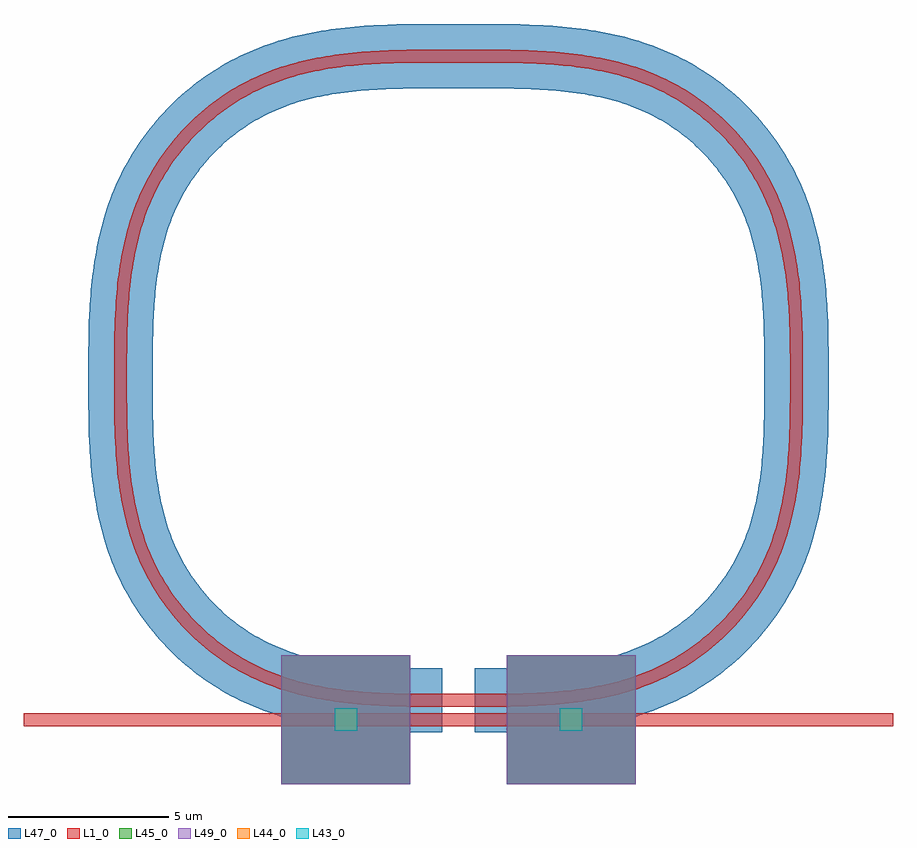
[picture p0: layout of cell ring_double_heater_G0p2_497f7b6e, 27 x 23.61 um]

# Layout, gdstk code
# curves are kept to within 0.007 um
import gdstk
lib = gdstk.Library(unit=1e-6, precision=1e-09)
def R(c, l, rs):  # rectangles x0, y0, x1, y1
    for r in rs: c.add(gdstk.rectangle(r[:2], r[2:], *l))
def P(c, l, *ps):  # polygons
    for p in ps: c.add(gdstk.Polygon(p, *l))
L1_0 = (1, 0)
L43_0 = (43, 0)
L44_0 = (44, 0)
L45_0 = (45, 0)
L47_0 = (47, 0)
L49_0 = (49, 0)

ring_double_heater_g0p2_ = lib.new_cell('ring_double_heater_G0p2_497f7b6e')
R(ring_double_heater_g0p2_, L1_0, [(-14,-0.2,13,0.2)])
P(ring_double_heater_g0p2_, L1_0, [(-1.416,0.4),(-2.252,0.408),(-2.95,0.431),(-3.65,0.479),(-4.349,0.559),(-4.906,0.652),(-5.458,0.776),(-6.003,0.935),(-6.537,1.133),(-7.055,1.372),(-7.552,1.65),(-8.026,1.967),(-8.474,2.32),(-8.893,2.707),(-9.28,3.126),(-9.633,3.574),(-9.95,4.048),(-10.228,4.545),(-10.411,4.932),(-10.571,5.328),(-10.749,5.868),(-10.89,6.417),(-11.021,7.112),(-11.094,7.67),(-11.153,8.37),(-11.192,9.348),(-11.2,11.026),(-11.185,12.141),(-11.144,12.98),(-11.078,13.68),(-10.974,14.377),(-10.824,15.068),(-10.665,15.613),(-10.571,15.882),(-10.411,16.278),(-10.292,16.537),(-10.094,16.916),(-9.95,17.162),(-9.715,17.52),(-9.461,17.864),(-9.28,18.084),(-8.993,18.401),(-8.791,18.603),(-8.582,18.796),(-8.254,19.071),(-8.026,19.243),(-7.673,19.484),(-7.43,19.633),(-7.055,19.838),(-6.668,20.021),(-6.272,20.181),(-5.868,20.318),(-5.547,20.41),(-1.415,20.41),(-2.381,20.399),(-3.068,20.372),(-3.751,20.32),(-4.293,20.255),(-4.829,20.165),(-5.49,20.012),(-5.878,19.895),(-6.384,19.707),(-6.873,19.482),(-7.343,19.218),(-7.791,18.919),(-8.214,18.586),(-8.61,18.22),(-8.976,17.824),(-9.309,17.401),(-9.608,16.953),(-9.872,16.483),(-10.044,16.118),(-10.241,15.616),(-10.402,15.1),(-10.528,14.572),(-10.625,14.037),(-10.696,13.496),(-10.754,12.815),(-10.789,11.991),(-10.8,11.025),(-10.792,9.356),(-10.754,8.395),(-10.681,7.578),(-10.604,7.038),(-10.5,6.505),(-10.326,5.851),(-10.196,5.467),(-10.044,5.092),(-9.872,4.727),(-9.678,4.372),(-9.463,4.03),(-9.229,3.7),(-8.976,3.386),(-8.61,2.99),(-8.214,2.624),(-7.9,2.371),(-7.57,2.137),(-7.228,1.922),(-6.873,1.728),(-6.508,1.556),(-6.133,1.404),(-5.749,1.274),(-5.359,1.164),(-4.962,1.072),(-4.562,0.996),(-4.022,0.919),(-3.478,0.865),(-2.931,0.831),(-1.692,0.801),(0.83,0.802),(1.656,0.819),(2.342,0.855),(3.022,0.919),(3.562,0.996),(4.095,1.1),(4.62,1.235),(5.006,1.359),(5.384,1.503),(5.753,1.668),(6.228,1.922),(6.57,2.137),(6.9,2.371),(7.214,2.624),(7.61,2.99),(7.976,3.386),(8.229,3.7),(8.463,4.03),(8.678,4.372),(8.932,4.847),(9.097,5.216),(9.285,5.722),(9.402,6.11),(9.528,6.638),(9.645,7.307),(9.71,7.849),(9.762,8.532),(9.789,9.219),(9.8,10.185),(9.792,11.854),(9.762,12.678),(9.723,13.224),(9.664,13.767),(9.58,14.306),(9.469,14.837),(9.365,15.23),(9.196,15.743),(8.989,16.241),(8.809,16.603),(8.608,16.953),(8.387,17.292),(8.229,17.51),(7.976,17.824),(7.797,18.026),(7.514,18.314),(7.214,18.586),(7.006,18.757),(6.682,18.997),(6.458,19.147),(6.111,19.355),(5.753,19.542),(5.384,19.707),(5.133,19.806),(4.49,20.012),(3.829,20.165),(3.157,20.274),(2.478,20.345),(1.656,20.391),(0.415,20.41),(-5.547,20.41),(-5.044,20.53),(-4.488,20.631),(-3.93,20.704),(-3.23,20.763),(-2.531,20.795),(-1.834,20.808),(0.834,20.808),(1.95,20.779),(2.51,20.743),(3.07,20.688),(3.488,20.631),(4.044,20.53),(4.458,20.434),(5.003,20.275),(5.405,20.13),(5.798,19.963),(6.181,19.772),(6.552,19.56),(6.91,19.325),(7.254,19.071),(7.582,18.796),(7.893,18.503),(8.186,18.192),(8.461,17.864),(8.715,17.52),(8.95,17.162),(9.162,16.791),(9.353,16.408),(9.571,15.882),(9.708,15.478),(9.858,14.931),(9.974,14.377),(10.06,13.819),(10.121,13.26),(10.169,12.56),(10.189,12.001),(10.199,9.906),(10.169,8.65),(10.133,8.09),(10.078,7.53),(10.021,7.112),(9.92,6.556),(9.824,6.142),(9.665,5.597),(9.52,5.195),(9.353,4.802),(9.228,4.545),(9.023,4.17),(8.796,3.807),(8.633,3.574),(8.461,3.346),(8.186,3.018),(7.893,2.707),(7.687,2.51),(7.474,2.32),(7.141,2.052),(6.793,1.804),(6.552,1.65),(6.181,1.438),(5.798,1.247),(5.537,1.133),(5.138,0.981),(4.868,0.892),(4.458,0.776),(3.767,0.626),(3.07,0.522),(2.37,0.456),(1.391,0.411),(0.694,0.401)])
R(ring_double_heater_g0p2_, L43_0, [(-4.35,-0.35,-3.65,0.35), (2.65,-0.35,3.35,0.35)])
R(ring_double_heater_g0p2_, L44_0, [(-4.35,-0.35,-3.65,0.35), (2.65,-0.35,3.35,0.35)])
R(ring_double_heater_g0p2_, L45_0, [(-6,-2,-2,2), (1,-2,5,2)])
P(ring_double_heater_g0p2_, L47_0, [(-6,-2),(-6,0.096),(-6.55,0.279),(-6.989,0.456),(-7.559,0.732),(-7.97,0.968),(-8.368,1.228),(-8.749,1.511),(-9.23,1.922),(-9.569,2.254),(-9.888,2.606),(-10.28,3.103),(-10.548,3.495),(-10.868,4.041),(-11.144,4.611),(-11.321,5.05),(-11.472,5.495),(-11.636,6.092),(-11.761,6.691),(-11.854,7.287),(-11.931,8.027),(-11.968,8.611),(-11.998,9.759),(-11.999,11.309),(-11.98,12.309),(-11.942,13.037),(-11.889,13.626),(-11.811,14.221),(-11.703,14.819),(-11.559,15.417),(-11.374,16.012),(-11.206,16.453),(-11.011,16.886),(-10.792,17.307),(-10.548,17.715),(-10.28,18.107),(-9.99,18.482),(-9.678,18.84),(-9.346,19.179),(-8.994,19.498),(-8.624,19.796),(-8.368,19.982),(-7.97,20.242),(-7.559,20.478),(-7.133,20.689),(-6.697,20.875),(-6.254,21.034),(-5.807,21.169),(-5.358,21.281),(-4.909,21.371),(-4.313,21.464),(-3.573,21.541),(-2.989,21.578),(-2.268,21.602),(0.841,21.608),(1.699,21.59),(2.573,21.541),(3.313,21.464),(3.76,21.397),(4.358,21.281),(4.807,21.169),(5.402,20.984),(5.843,20.816),(6.276,20.621),(6.697,20.402),(7.105,20.158),(7.368,19.982),(7.872,19.6),(8.113,19.394),(8.459,19.069),(8.888,18.604),(9.186,18.234),(9.372,17.978),(9.713,17.445),(9.868,17.169),(10.079,16.743),(10.265,16.307),(10.374,16.012),(10.559,15.417),(10.671,14.968),(10.733,14.669),(10.854,13.923),(10.942,13.037),(10.968,12.599),(10.992,11.878),(11,10.182),(10.98,8.901),(10.931,8.027),(10.854,7.287),(10.787,6.84),(10.671,6.242),(10.517,5.644),(10.321,5.05),(10.144,4.611),(9.941,4.182),(9.713,3.765),(9.372,3.232),(9.186,2.976),(8.888,2.606),(8.569,2.254),(8.346,2.031),(7.994,1.712),(7.749,1.511),(7.368,1.228),(7.105,1.052),(6.697,0.808),(6.418,0.659),(5.989,0.456),(5.697,0.335),(5.402,0.226),(5,0.096),(5,-2),(1,-2),(1,-0.396),(0,-0.4),(0,1.6),(1,1.605),(1,2),(4.385,2),(4.742,2.114),(5.187,2.289),(5.616,2.496),(5.823,2.612),(6.126,2.802),(6.604,3.156),(6.959,3.472),(7.289,3.815),(7.444,3.996),(7.662,4.279),(7.988,4.777),(8.212,5.196),(8.358,5.522),(8.445,5.745),(8.63,6.322),(8.719,6.68),(8.793,7.047),(8.901,7.8),(8.97,8.708),(8.998,9.777),(8.998,11.433),(8.97,12.502),(8.914,13.282),(8.835,13.915),(8.719,14.53),(8.562,15.122),(8.403,15.577),(8.263,15.906),(8.159,16.12),(7.988,16.433),(7.863,16.636),(7.591,17.027),(7.289,17.395),(6.873,17.819),(6.604,18.054),(6.417,18.201),(6.026,18.473),(5.616,18.714),(5.296,18.873),(5.078,18.968),(4.628,19.135),(4.04,19.301),(3.553,19.403),(3.054,19.481),(2.414,19.547),(1.76,19.586),(0.414,19.61),(-1.823,19.608),(-2.76,19.586),(-3.414,19.547),(-4.054,19.481),(-4.43,19.425),(-4.92,19.329),(-5.396,19.207),(-5.742,19.096),(-6.078,18.968),(-6.51,18.769),(-6.925,18.536),(-7.321,18.272),(-7.604,18.054),(-7.959,17.738),(-8.289,17.395),(-8.591,17.027),(-8.798,16.736),(-9.047,16.33),(-9.263,15.906),(-9.403,15.577),(-9.486,15.352),(-9.63,14.888),(-9.77,14.286),(-9.871,13.664),(-9.947,12.895),(-9.981,12.238),(-9.999,11.297),(-9.998,9.777),(-9.981,8.972),(-9.947,8.315),(-9.871,7.546),(-9.77,6.924),(-9.691,6.56),(-9.597,6.204),(-9.403,5.633),(-9.263,5.304),(-9.104,4.984),(-8.988,4.777),(-8.798,4.474),(-8.518,4.089),(-8.289,3.815),(-8.128,3.641),(-7.785,3.311),(-7.417,3.009),(-7.026,2.737),(-6.616,2.496),(-6.296,2.337),(-6.078,2.242),(-5.742,2.114),(-5.385,2),(-2,2),(-2,1.605),(-1,1.6),(-1,-0.4),(-2,-0.396),(-2,-2)])
R(ring_double_heater_g0p2_, L49_0, [(-6,-2,-2,2), (1,-2,5,2)])

lib.write_gds('ring_double_heater_G0p2_497f7b6e.gds')
